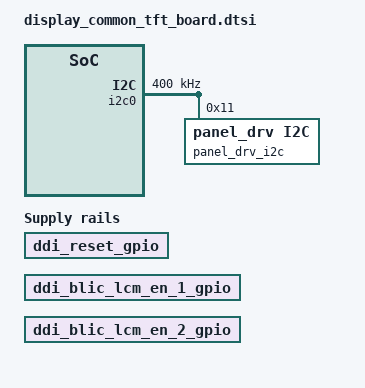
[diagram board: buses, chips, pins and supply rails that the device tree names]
/*
 * Samsung Exynos SoC series Panel driver
 *
 * Copyright (c) 2020 Samsung Electronics Co., Ltd
 *
 * This program is free software; you can redistribute it and/or modify
 * it under the terms of the GNU General Public License version 2 as
 * published by the Free Software Foundation.
 */

#if 1
/* BLIC I2C dt overlay START */
&pio {
	panel_i2c_bus: panel_i2c_bus {
		samsung,pins = SEC_GPIO(AP,pio,127), SEC_GPIO(AP,pio,128);
		samsung,pin-function = <2>;
		samsung,pin-pud = <3>;
		samsung,pin-drv = <0>;
		samsung,pin-con-pdn = <3>;				// PREV in sleep
		samsung,pin-pud-pdn = <3>;				// PU
	};
};

&i2c0 {
	#address-cells = <1>;
	#size-cells = <0>;

	clock-frequency = <400000>;

	status = "okay";
	pinctrl-names = "default";
	pinctrl-0 = <&panel_i2c_bus>;

	/* BLIC 1 */
	panel_drv_i2c@0x11 {
		compatible = "panel_drv,i2c";
		reg = <0x11>;
		len,addr= <0x01>;
		len,data= <0x01>;
	};

#if 0
	/* BLIC 2 */
	panel_drv_i2c@0x11 {
		compatible = "panel_drv,i2c";
		reg = <0x11>;
		len,addr= <0x01>;
		len,data= <0x01>;
	};
#endif
};
#endif

#if 1
&pio {
	disp_blic_1_0_default: disp-blic-1-0-default {
		samsung,pins = SEC_GPIO(AP,pio,150);
		samsung,pin-function = <1>;	// OUT
		samsung,pin-pud = <0>;		// NP
		samsung,pin-con-pdn = <3>;	// PREV in sleep
		samsung,pin-pud-pdn = <0>;	// NP in sleep
	};
};
#endif

#if 1
&pio {
	disp_blic_1_1_default: disp-blic-1_1-default {
		samsung,pins = SEC_GPIO(AP,pio,104);
		samsung,pin-function = <1>;	// OUT
		samsung,pin-pud = <0>;		// NP
		samsung,pin-con-pdn = <3>;	// PREV in sleep
		samsung,pin-pud-pdn = <0>;	// NP in sleep
	};
};
#endif

#if 1
&pio {
	disp_blic_1_2_default: disp-blic-1-2-default {
		samsung,pins = SEC_GPIO(AP,pio,105);
		samsung,pin-function = <1>;	// OUT
		samsung,pin-pud = <0>;		// NP
		samsung,pin-con-pdn = <3>;	// PREV in sleep
		samsung,pin-pud-pdn = <0>;	// NP in sleep
	};
};
#endif

#if 0
&${blic_2_bl_en_parent} {
	disp_blic_2_0_default: disp-blic-2-0-default {
		samsung,pins = SEC_GPIO(${blic_2_bl_en_gpio});
		samsung,pin-function = <1>;	// OUT
		samsung,pin-pud = <0>;		// NP
		samsung,pin-con-pdn = <3>;	// PREV in sleep
		samsung,pin-pud-pdn = <0>;	// NP in sleep
	};
};
#endif

#if 0
&${blic_2_lcm_en_1_parent} {
	disp_blic_2_1_default: disp-blic-2_1-default {
		GPIO_CONFIG_PUD(${blic_2_lcm_en_1_gpio}, FUNC_OUTPUT, PULL_NONE);
	};
};
#endif

#if 0
&${blic_2_lcm_en_2_parent} {
	disp_blic_2_2_default: disp-blic-2-2-default {
		samsung,pins = SEC_GPIO(${blic_2_lcm_en_2_gpio});
		samsung,pin-function = <1>;	// OUT
		samsung,pin-pud = <0>;		// NP
		samsung,pin-con-pdn = <3>;	// PREV in sleep
		samsung,pin-pud-pdn = <0>;	// NP in sleep
	};
};
#endif
/* BLIC I2C dt overlay END */

&pio {
	disp_rst_default: disp-rst-default {
		samsung,pins = SEC_GPIO(AP,pio,86);
		samsung,pin-function = <1>;	// OUT
		samsung,pin-pud = <0>;		// NP
		samsung,pin-con-pdn = <3>;	// PREV in sleep
		samsung,pin-pud-pdn = <0>;	// NP in sleep
	};
};

#if 0
&${err_fg_parent} {
	err_fg_default: err_fg_default {
		GPIO_CONFIG_PUD(${err_fg_gpio}, FUNC_INPUT, PULL_DOWN);
	};
};
#endif

#if 1
&pio {
	conn_det_default: conn_det_default {
		GPIO_CONFIG_PUD(AP,pio,32, FUNC_INPUT, PULL_NONE);
	};
};
#endif

#if 1
&mt6377_vaud18 {
#if 1
	regulator-name = "lcd_vddi";
#endif
	regulator-boot-on;
};
#endif

#if 0
&${lcd_vendor_check_parent} {
	lcd_vendor_check_default: lcd_vendor_check_default {
		samsung,pins = SEC_GPIO(${lcd_vendor_check_gpio});
		samsung,pin-pud-pdn = <0>;
	};
};
#endif

/ {
	fragment@panel_drv {
		target-path = "/";
		__overlay__ {
			ddi_reset_gpio: ddi_reset_gpio {
				compatible = "regulator-fixed";
				regulator-name = "lcd_rst";
				gpio = <SEC_GPIO_REF(AP,pio,86) 1>;	/* LCD_RST */
				enable-active-high;
				regulator-boot-on;
			};

			ddi_blic_gpio: ddi_blic_gpio {
				regulator-name = "lcd_bl_en";
				regulator-desc-name = "ddi-blic";
				regulator-min-microvolt = <5500000>;
				regulator-max-microvolt = <5500000>;
				regulator-boot-on;
			};

#if 1
			ddi_blic_lcm_en_1_gpio: ddi_blic_lcm_en_1_gpio {
				compatible = "regulator-fixed";
				regulator-name = "lcd_vsp";
				gpio = <SEC_GPIO_REF(AP,pio,104) 1>;
				enable-active-high;
				regulator-boot-on;
			};
#endif

#if 1
			ddi_blic_lcm_en_2_gpio: ddi_blic_lcm_en_2_gpio {
				compatible = "regulator-fixed";
				regulator-name = "lcd_vsn";
				gpio = <SEC_GPIO_REF(AP,pio,105) 1>;
				enable-active-high;
				regulator-boot-on;
			};
#endif

#if 0
			ddi_blic_2_gpio: ddi_blic_2_gpio {
				regulator-name = "ddi-blic-2";
				regulator-desc-name = "ddi-blic-2";
				regulator-min-microvolt = <5500000>;
				regulator-max-microvolt = <5500000>;
				regulator-boot-on;
			};
#endif
#if 0
			ddi_blic_2_lcm_en_1_gpio: ddi_blic_2_lcm_en_1_gpio {
				compatible = "regulator-fixed";
				regulator-name = "ddi-vsp-2";
				gpio = <SEC_GPIO_REF(${blic_2_lcm_en_1_gpio}) 1>;
				enable-active-high;
				regulator-boot-on;
			};
#endif

#if 0
			ddi_blic_2_lcm_en_2_gpio: ddi_blic_2_lcm_en_2_gpio {
				compatible = "regulator-fixed";
				regulator-name = "ddi-vsn-2";
				gpio = <SEC_GPIO_REF(${blic_2_lcm_en_2_gpio}) 1>;
				enable-active-high;
				regulator-boot-on;
			};
#endif

			panel_blic: panel_blic {
				ktz8864 {
					regulator = <&ddi_blic_gpio>;
					gpios {
#if 1
						gpio_hwen: gpio_hwen {
							gpios = <SEC_GPIO_REF(AP,pio,150) 1>;
							dir = <0>;  /* OUT */
							irq-type = <0x0>;   /* NONE */
						};
#endif
					};
				};

#if 0
				${blic_2_name} {
					regulator = <&ddi_blic_2_gpio>;
					gpios {
#if 0
						gpio_hwen: gpio_hwen {
							gpios = <SEC_GPIO_REF(${blic_2_bl_en_gpio}) 1>;
							dir = <0>;  /* OUT */
							irq-type = <0x0>;   /* NONE */
						};
#endif
					};
				};
#endif
			};

			panel_drv_0: panel_drv_0 {
				pinctrl-names = "default";
				pinctrl-0 = <
					&disp_rst_default
#if 1
					&disp_blic_1_0_default
#endif
#if 1
					&disp_blic_1_1_default
#endif
#if 1
					&disp_blic_1_2_default
#endif
#if 0
					&disp_blic_2_0_default
#endif
#if 0
					&disp_blic_2_1_default
#endif
#if 0
					&disp_blic_2_2_default
#endif
#if 0
					&err_fg_default
#endif
#if 1
					&conn_det_default
#endif
#if 0
					&lcd_vendor_check_default
#endif
				>;

				blic = <&panel_blic>;
				gpios {
#if 0
					err_fg: err-fg {
						gpios = <SEC_GPIO_REF(${err_fg_gpio}) 0>;		/* 0:NOK(active) 1:OK */
						dir = <1>;				/* IN */
						irq-type = <0x00002001>;	/* RISING EDGE | ONE_SHOT */
					};
#endif
#if 1
					conn_det: conn-det {
						gpios = <SEC_GPIO_REF(AP,pio,32) 0>;
						dir = <1>;
						irq-type = <0x00002001>;	//RISING EDGE | ONE_SHOT
					};
#endif
#if 0
					disp_det: disp-det {
						gpios = <SEC_GPIO_REF(${disp_det_gpio}) 1>;  /* 0:OK, 1:NOK(active) */
						dir = <1>;  /* IN */
						irq-type = <0x2>;   /* FALLING EDGE */
					};
 #endif
				};

				regulators {
#if 1
					ddi_iovcc: ddi-iovcc {
						regulator = <&mt6377_vaud18>;
						type = <REGULATOR_TYPE_PWR>;
					};
#endif
					ddi_blic: ddi-blic {
						regulator = <&ddi_blic_gpio>;
						type = <REGULATOR_TYPE_PWR>;
					};
#if 1
					ddi_blic_en1: ddi-blic-en1 {
						regulator = <&ddi_blic_lcm_en_1_gpio>;
						type = <REGULATOR_TYPE_PWR>;
					};
#endif
#if 1
					ddi_blic_en2: ddi-blic-en2 {
						regulator = <&ddi_blic_lcm_en_2_gpio>;
						type = <REGULATOR_TYPE_PWR>;
					};
#endif
#if 0
					ddi_blic_2: ddi-blic-2 {
						regulator = <&ddi_blic_2_gpio>;
						type = <REGULATOR_TYPE_PWR>;
					};
#endif
#if 0
					ddi_blic_2_en1: ddi-blic-2-en1 {
						regulator = <&ddi_blic_2_lcm_en_1_gpio>;
						type = <REGULATOR_TYPE_PWR>;
					};
#endif
#if 0
					ddi_blic_2_en2: ddi-blic-2_en2 {
						regulator = <&ddi_blic_2_lcm_en_2_gpio>;
						type = <REGULATOR_TYPE_PWR>;
					};
#endif
					ddi_reset: ddi-reset {
						regulator = <&ddi_reset_gpio>;
						type = <REGULATOR_TYPE_PWR>;
					};
				};
			};
		};
	};
};
